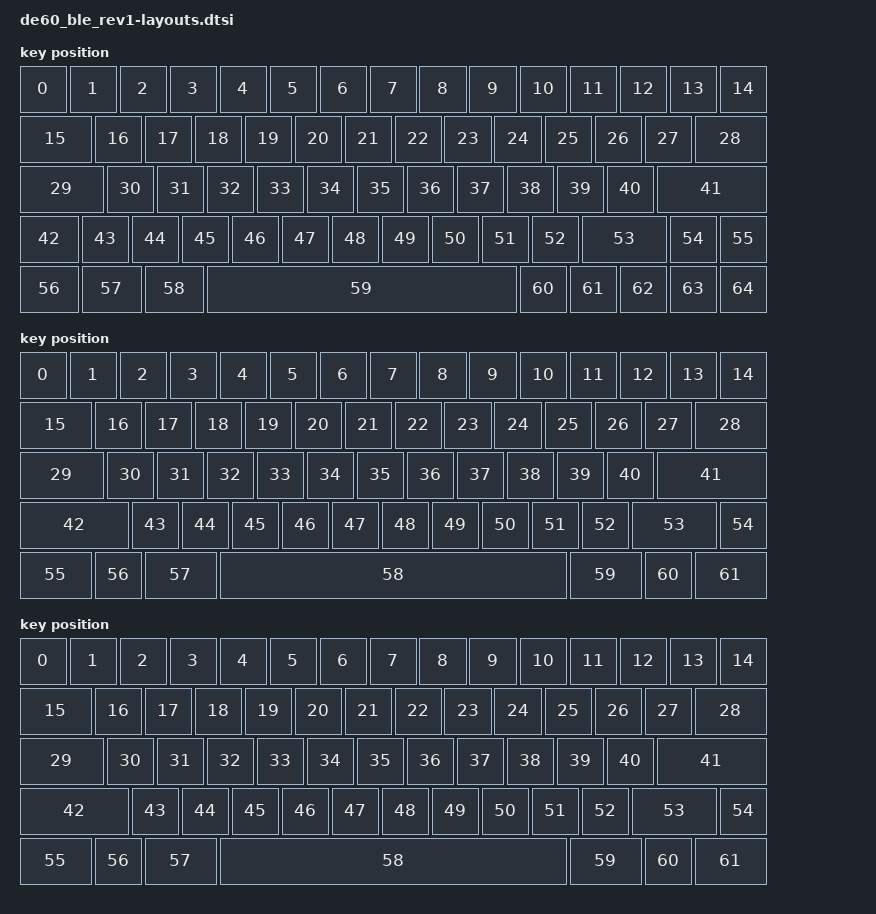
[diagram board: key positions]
#include <physical_layouts.dtsi>

/ {

    chosen {
        zmk,physical-layout = &white_all;
    };

    white_all: white_all {
        compatible = "zmk,physical-layout";
        display-name = "WHITE All";

        kscan = <&kscan0>;
        transform = <&white_all_transform>;

        keys  //                     w   h    x    y     rot    rx    ry
            = <&key_physical_attrs 100 100    0    0       0     0     0>
            , <&key_physical_attrs 100 100  100    0       0     0     0>
            , <&key_physical_attrs 100 100  200    0       0     0     0>
            , <&key_physical_attrs 100 100  300    0       0     0     0>
            , <&key_physical_attrs 100 100  400    0       0     0     0>
            , <&key_physical_attrs 100 100  500    0       0     0     0>
            , <&key_physical_attrs 100 100  600    0       0     0     0>
            , <&key_physical_attrs 100 100  700    0       0     0     0>
            , <&key_physical_attrs 100 100  800    0       0     0     0>
            , <&key_physical_attrs 100 100  900    0       0     0     0>
            , <&key_physical_attrs 100 100 1000    0       0     0     0>
            , <&key_physical_attrs 100 100 1100    0       0     0     0>
            , <&key_physical_attrs 100 100 1200    0       0     0     0>
            , <&key_physical_attrs 100 100 1300    0       0     0     0>
            , <&key_physical_attrs 100 100 1400    0       0     0     0>
            , <&key_physical_attrs 150 100    0  100       0     0     0>
            , <&key_physical_attrs 100 100  150  100       0     0     0>
            , <&key_physical_attrs 100 100  250  100       0     0     0>
            , <&key_physical_attrs 100 100  350  100       0     0     0>
            , <&key_physical_attrs 100 100  450  100       0     0     0>
            , <&key_physical_attrs 100 100  550  100       0     0     0>
            , <&key_physical_attrs 100 100  650  100       0     0     0>
            , <&key_physical_attrs 100 100  750  100       0     0     0>
            , <&key_physical_attrs 100 100  850  100       0     0     0>
            , <&key_physical_attrs 100 100  950  100       0     0     0>
            , <&key_physical_attrs 100 100 1050  100       0     0     0>
            , <&key_physical_attrs 100 100 1150  100       0     0     0>
            , <&key_physical_attrs 100 100 1250  100       0     0     0>
            , <&key_physical_attrs 150 100 1350  100       0     0     0>
            , <&key_physical_attrs 175 100    0  200       0     0     0>
            , <&key_physical_attrs 100 100  175  200       0     0     0>
            , <&key_physical_attrs 100 100  275  200       0     0     0>
            , <&key_physical_attrs 100 100  375  200       0     0     0>
            , <&key_physical_attrs 100 100  475  200       0     0     0>
            , <&key_physical_attrs 100 100  575  200       0     0     0>
            , <&key_physical_attrs 100 100  675  200       0     0     0>
            , <&key_physical_attrs 100 100  775  200       0     0     0>
            , <&key_physical_attrs 100 100  875  200       0     0     0>
            , <&key_physical_attrs 100 100  975  200       0     0     0>
            , <&key_physical_attrs 100 100 1075  200       0     0     0>
            , <&key_physical_attrs 100 100 1175  200       0     0     0>
            , <&key_physical_attrs 225 100 1275  200       0     0     0>
            , <&key_physical_attrs 125 100    0  300       0     0     0>
            , <&key_physical_attrs 100 100  125  300       0     0     0>
            , <&key_physical_attrs 100 100  225  300       0     0     0>
            , <&key_physical_attrs 100 100  325  300       0     0     0>
            , <&key_physical_attrs 100 100  425  300       0     0     0>
            , <&key_physical_attrs 100 100  525  300       0     0     0>
            , <&key_physical_attrs 100 100  625  300       0     0     0>
            , <&key_physical_attrs 100 100  725  300       0     0     0>
            , <&key_physical_attrs 100 100  825  300       0     0     0>
            , <&key_physical_attrs 100 100  925  300       0     0     0>
            , <&key_physical_attrs 100 100 1025  300       0     0     0>
            , <&key_physical_attrs 175 100 1125  300       0     0     0>
            , <&key_physical_attrs 100 100 1300  300       0     0     0>
            , <&key_physical_attrs 100 100 1400  300       0     0     0>
            , <&key_physical_attrs 125 100    0  400       0     0     0>
            , <&key_physical_attrs 125 100  125  400       0     0     0>
            , <&key_physical_attrs 125 100  250  400       0     0     0>
            , <&key_physical_attrs 625 100  375  400       0     0     0>
            , <&key_physical_attrs 100 100 1000  400       0     0     0>
            , <&key_physical_attrs 100 100 1100  400       0     0     0>
            , <&key_physical_attrs 100 100 1200  400       0     0     0>
            , <&key_physical_attrs 100 100 1300  400       0     0     0>
            , <&key_physical_attrs 100 100 1400  400       0     0     0>
            ;
    };

    red_tsangan_split_bs_rshift: red_tsangan_split_bs_rshift {
        compatible = "zmk,physical-layout";
        display-name = "RED - ANSI - Space 7U - Split Backspace - Split Right Shift";
        transform = <&red_ansi_tsangan_split_bs_rshift_transform>;

        keys  //                     w   h    x    y     rot    rx    ry
            = <&key_physical_attrs 100 100    0    0       0     0     0>
            , <&key_physical_attrs 100 100  100    0       0     0     0>
            , <&key_physical_attrs 100 100  200    0       0     0     0>
            , <&key_physical_attrs 100 100  300    0       0     0     0>
            , <&key_physical_attrs 100 100  400    0       0     0     0>
            , <&key_physical_attrs 100 100  500    0       0     0     0>
            , <&key_physical_attrs 100 100  600    0       0     0     0>
            , <&key_physical_attrs 100 100  700    0       0     0     0>
            , <&key_physical_attrs 100 100  800    0       0     0     0>
            , <&key_physical_attrs 100 100  900    0       0     0     0>
            , <&key_physical_attrs 100 100 1000    0       0     0     0>
            , <&key_physical_attrs 100 100 1100    0       0     0     0>
            , <&key_physical_attrs 100 100 1200    0       0     0     0>
            , <&key_physical_attrs 100 100 1300    0       0     0     0>
            , <&key_physical_attrs 100 100 1400    0       0     0     0>
            , <&key_physical_attrs 150 100    0  100       0     0     0>
            , <&key_physical_attrs 100 100  150  100       0     0     0>
            , <&key_physical_attrs 100 100  250  100       0     0     0>
            , <&key_physical_attrs 100 100  350  100       0     0     0>
            , <&key_physical_attrs 100 100  450  100       0     0     0>
            , <&key_physical_attrs 100 100  550  100       0     0     0>
            , <&key_physical_attrs 100 100  650  100       0     0     0>
            , <&key_physical_attrs 100 100  750  100       0     0     0>
            , <&key_physical_attrs 100 100  850  100       0     0     0>
            , <&key_physical_attrs 100 100  950  100       0     0     0>
            , <&key_physical_attrs 100 100 1050  100       0     0     0>
            , <&key_physical_attrs 100 100 1150  100       0     0     0>
            , <&key_physical_attrs 100 100 1250  100       0     0     0>
            , <&key_physical_attrs 150 100 1350  100       0     0     0>
            , <&key_physical_attrs 175 100    0  200       0     0     0>
            , <&key_physical_attrs 100 100  175  200       0     0     0>
            , <&key_physical_attrs 100 100  275  200       0     0     0>
            , <&key_physical_attrs 100 100  375  200       0     0     0>
            , <&key_physical_attrs 100 100  475  200       0     0     0>
            , <&key_physical_attrs 100 100  575  200       0     0     0>
            , <&key_physical_attrs 100 100  675  200       0     0     0>
            , <&key_physical_attrs 100 100  775  200       0     0     0>
            , <&key_physical_attrs 100 100  875  200       0     0     0>
            , <&key_physical_attrs 100 100  975  200       0     0     0>
            , <&key_physical_attrs 100 100 1075  200       0     0     0>
            , <&key_physical_attrs 100 100 1175  200       0     0     0>
            , <&key_physical_attrs 225 100 1275  200       0     0     0>
            , <&key_physical_attrs 225 100    0  300       0     0     0>
            , <&key_physical_attrs 100 100  225  300       0     0     0>
            , <&key_physical_attrs 100 100  325  300       0     0     0>
            , <&key_physical_attrs 100 100  425  300       0     0     0>
            , <&key_physical_attrs 100 100  525  300       0     0     0>
            , <&key_physical_attrs 100 100  625  300       0     0     0>
            , <&key_physical_attrs 100 100  725  300       0     0     0>
            , <&key_physical_attrs 100 100  825  300       0     0     0>
            , <&key_physical_attrs 100 100  925  300       0     0     0>
            , <&key_physical_attrs 100 100 1025  300       0     0     0>
            , <&key_physical_attrs 100 100 1125  300       0     0     0>
            , <&key_physical_attrs 175 100 1225  300       0     0     0>
            , <&key_physical_attrs 100 100 1400  300       0     0     0>
            , <&key_physical_attrs 150 100    0  400       0     0     0>
            , <&key_physical_attrs 100 100  150  400       0     0     0>
            , <&key_physical_attrs 150 100  250  400       0     0     0>
            , <&key_physical_attrs 700 100  400  400       0     0     0>
            , <&key_physical_attrs 150 100 1100  400       0     0     0>
            , <&key_physical_attrs 100 100 1250  400       0     0     0>
            , <&key_physical_attrs 150 100 1350  400       0     0     0>
            ;
    };

    white_tsangan_split_bs_rshift: white_tsangan_split_bs_rshift {
        compatible = "zmk,physical-layout";
        display-name = "WHITE - ANSI - Space 7U - Split Backspace - Split Right Shift";
        transform = <&white_ansi_tsangan_split_bs_rshift_transform>;

        keys  //                     w   h    x    y     rot    rx    ry
            = <&key_physical_attrs 100 100    0    0       0     0     0>
            , <&key_physical_attrs 100 100  100    0       0     0     0>
            , <&key_physical_attrs 100 100  200    0       0     0     0>
            , <&key_physical_attrs 100 100  300    0       0     0     0>
            , <&key_physical_attrs 100 100  400    0       0     0     0>
            , <&key_physical_attrs 100 100  500    0       0     0     0>
            , <&key_physical_attrs 100 100  600    0       0     0     0>
            , <&key_physical_attrs 100 100  700    0       0     0     0>
            , <&key_physical_attrs 100 100  800    0       0     0     0>
            , <&key_physical_attrs 100 100  900    0       0     0     0>
            , <&key_physical_attrs 100 100 1000    0       0     0     0>
            , <&key_physical_attrs 100 100 1100    0       0     0     0>
            , <&key_physical_attrs 100 100 1200    0       0     0     0>
            , <&key_physical_attrs 100 100 1300    0       0     0     0>
            , <&key_physical_attrs 100 100 1400    0       0     0     0>
            , <&key_physical_attrs 150 100    0  100       0     0     0>
            , <&key_physical_attrs 100 100  150  100       0     0     0>
            , <&key_physical_attrs 100 100  250  100       0     0     0>
            , <&key_physical_attrs 100 100  350  100       0     0     0>
            , <&key_physical_attrs 100 100  450  100       0     0     0>
            , <&key_physical_attrs 100 100  550  100       0     0     0>
            , <&key_physical_attrs 100 100  650  100       0     0     0>
            , <&key_physical_attrs 100 100  750  100       0     0     0>
            , <&key_physical_attrs 100 100  850  100       0     0     0>
            , <&key_physical_attrs 100 100  950  100       0     0     0>
            , <&key_physical_attrs 100 100 1050  100       0     0     0>
            , <&key_physical_attrs 100 100 1150  100       0     0     0>
            , <&key_physical_attrs 100 100 1250  100       0     0     0>
            , <&key_physical_attrs 150 100 1350  100       0     0     0>
            , <&key_physical_attrs 175 100    0  200       0     0     0>
            , <&key_physical_attrs 100 100  175  200       0     0     0>
            , <&key_physical_attrs 100 100  275  200       0     0     0>
            , <&key_physical_attrs 100 100  375  200       0     0     0>
            , <&key_physical_attrs 100 100  475  200       0     0     0>
            , <&key_physical_attrs 100 100  575  200       0     0     0>
            , <&key_physical_attrs 100 100  675  200       0     0     0>
            , <&key_physical_attrs 100 100  775  200       0     0     0>
            , <&key_physical_attrs 100 100  875  200       0     0     0>
            , <&key_physical_attrs 100 100  975  200       0     0     0>
            , <&key_physical_attrs 100 100 1075  200       0     0     0>
            , <&key_physical_attrs 100 100 1175  200       0     0     0>
            , <&key_physical_attrs 225 100 1275  200       0     0     0>
            , <&key_physical_attrs 225 100    0  300       0     0     0>
            , <&key_physical_attrs 100 100  225  300       0     0     0>
            , <&key_physical_attrs 100 100  325  300       0     0     0>
            , <&key_physical_attrs 100 100  425  300       0     0     0>
            , <&key_physical_attrs 100 100  525  300       0     0     0>
            , <&key_physical_attrs 100 100  625  300       0     0     0>
            , <&key_physical_attrs 100 100  725  300       0     0     0>
            , <&key_physical_attrs 100 100  825  300       0     0     0>
            , <&key_physical_attrs 100 100  925  300       0     0     0>
            , <&key_physical_attrs 100 100 1025  300       0     0     0>
            , <&key_physical_attrs 100 100 1125  300       0     0     0>
            , <&key_physical_attrs 175 100 1225  300       0     0     0>
            , <&key_physical_attrs 100 100 1400  300       0     0     0>
            , <&key_physical_attrs 150 100    0  400       0     0     0>
            , <&key_physical_attrs 100 100  150  400       0     0     0>
            , <&key_physical_attrs 150 100  250  400       0     0     0>
            , <&key_physical_attrs 700 100  400  400       0     0     0>
            , <&key_physical_attrs 150 100 1100  400       0     0     0>
            , <&key_physical_attrs 100 100 1250  400       0     0     0>
            , <&key_physical_attrs 150 100 1350  400       0     0     0>
            ;
    };

    white_tsangan_arrow: white_tsangan_arrow {
        compatible = "zmk,physical-layout";
        display-name = "WHITE - ANSI - Space 7U - Arrow";

        kscan = <&kscan0>;
        transform = <&white_ansi_tsangan_arrow_transform>;

        keys  //                     w   h    x    y     rot    rx    ry
            = <&key_physical_attrs 100 100    0    0       0     0     0>
            , <&key_physical_attrs 100 100  100    0       0     0     0>
            , <&key_physical_attrs 100 100  200    0       0     0     0>
            , <&key_physical_attrs 100 100  300    0       0     0     0>
            , <&key_physical_attrs 100 100  400    0       0     0     0>
            , <&key_physical_attrs 100 100  500    0       0     0     0>
            , <&key_physical_attrs 100 100  600    0       0     0     0>
            , <&key_physical_attrs 100 100  700    0       0     0     0>
            , <&key_physical_attrs 100 100  800    0       0     0     0>
            , <&key_physical_attrs 100 100  900    0       0     0     0>
            , <&key_physical_attrs 100 100 1000    0       0     0     0>
            , <&key_physical_attrs 100 100 1100    0       0     0     0>
            , <&key_physical_attrs 100 100 1200    0       0     0     0>
            , <&key_physical_attrs 200 100 1300    0       0     0     0>
            , <&key_physical_attrs 150 100    0  100       0     0     0>
            , <&key_physical_attrs 100 100  150  100       0     0     0>
            , <&key_physical_attrs 100 100  250  100       0     0     0>
            , <&key_physical_attrs 100 100  350  100       0     0     0>
            , <&key_physical_attrs 100 100  450  100       0     0     0>
            , <&key_physical_attrs 100 100  550  100       0     0     0>
            , <&key_physical_attrs 100 100  650  100       0     0     0>
            , <&key_physical_attrs 100 100  750  100       0     0     0>
            , <&key_physical_attrs 100 100  850  100       0     0     0>
            , <&key_physical_attrs 100 100  950  100       0     0     0>
            , <&key_physical_attrs 100 100 1050  100       0     0     0>
            , <&key_physical_attrs 100 100 1150  100       0     0     0>
            , <&key_physical_attrs 100 100 1250  100       0     0     0>
            , <&key_physical_attrs 150 100 1350  100       0     0     0>
            , <&key_physical_attrs 175 100    0  200       0     0     0>
            , <&key_physical_attrs 100 100  175  200       0     0     0>
            , <&key_physical_attrs 100 100  275  200       0     0     0>
            , <&key_physical_attrs 100 100  375  200       0     0     0>
            , <&key_physical_attrs 100 100  475  200       0     0     0>
            , <&key_physical_attrs 100 100  575  200       0     0     0>
            , <&key_physical_attrs 100 100  675  200       0     0     0>
            , <&key_physical_attrs 100 100  775  200       0     0     0>
            , <&key_physical_attrs 100 100  875  200       0     0     0>
            , <&key_physical_attrs 100 100  975  200       0     0     0>
            , <&key_physical_attrs 100 100 1075  200       0     0     0>
            , <&key_physical_attrs 100 100 1175  200       0     0     0>
            , <&key_physical_attrs 225 100 1275  200       0     0     0>
            , <&key_physical_attrs 225 100    0  300       0     0     0>
            , <&key_physical_attrs 100 100  225  300       0     0     0>
            , <&key_physical_attrs 100 100  325  300       0     0     0>
            , <&key_physical_attrs 100 100  425  300       0     0     0>
            , <&key_physical_attrs 100 100  525  300       0     0     0>
            , <&key_physical_attrs 100 100  625  300       0     0     0>
            , <&key_physical_attrs 100 100  725  300       0     0     0>
            , <&key_physical_attrs 100 100  825  300       0     0     0>
            , <&key_physical_attrs 100 100  925  300       0     0     0>
            , <&key_physical_attrs 100 100 1025  300       0     0     0>
            , <&key_physical_attrs 175 100 1125  300       0     0     0>
            , <&key_physical_attrs 100 100 1300  300       0     0     0>
            , <&key_physical_attrs 100 100 1400  300       0     0     0>
            , <&key_physical_attrs 150 100    0  400       0     0     0>
            , <&key_physical_attrs 100 100  150  400       0     0     0>
            , <&key_physical_attrs 150 100  250  400       0     0     0>
            , <&key_physical_attrs 700 100  400  400       0     0     0>
            , <&key_physical_attrs 100 100 1100  400       0     0     0>
            , <&key_physical_attrs 100 100 1200  400       0     0     0>
            , <&key_physical_attrs 100 100 1300  400       0     0     0>
            , <&key_physical_attrs 100 100 1400  400       0     0     0>
            ;
    };

    white_tsangan_arrow_split_bs: white_tsangan_arrow_split_bs {
        compatible = "zmk,physical-layout";
        display-name = "WHITE - ANSI - Space 7U - Arrow - Split Backspace";

        kscan = <&kscan0>;
        transform = <&white_ansi_tsangan_arrow_split_bs_transform>;

        keys  //                     w   h    x    y     rot    rx    ry
            = <&key_physical_attrs 100 100    0    0       0     0     0>
            , <&key_physical_attrs 100 100  100    0       0     0     0>
            , <&key_physical_attrs 100 100  200    0       0     0     0>
            , <&key_physical_attrs 100 100  300    0       0     0     0>
            , <&key_physical_attrs 100 100  400    0       0     0     0>
            , <&key_physical_attrs 100 100  500    0       0     0     0>
            , <&key_physical_attrs 100 100  600    0       0     0     0>
            , <&key_physical_attrs 100 100  700    0       0     0     0>
            , <&key_physical_attrs 100 100  800    0       0     0     0>
            , <&key_physical_attrs 100 100  900    0       0     0     0>
            , <&key_physical_attrs 100 100 1000    0       0     0     0>
            , <&key_physical_attrs 100 100 1100    0       0     0     0>
            , <&key_physical_attrs 100 100 1200    0       0     0     0>
            , <&key_physical_attrs 100 100 1300    0       0     0     0>
            , <&key_physical_attrs 100 100 1400    0       0     0     0>
            , <&key_physical_attrs 150 100    0  100       0     0     0>
            , <&key_physical_attrs 100 100  150  100       0     0     0>
            , <&key_physical_attrs 100 100  250  100       0     0     0>
            , <&key_physical_attrs 100 100  350  100       0     0     0>
            , <&key_physical_attrs 100 100  450  100       0     0     0>
            , <&key_physical_attrs 100 100  550  100       0     0     0>
            , <&key_physical_attrs 100 100  650  100       0     0     0>
            , <&key_physical_attrs 100 100  750  100       0     0     0>
            , <&key_physical_attrs 100 100  850  100       0     0     0>
            , <&key_physical_attrs 100 100  950  100       0     0     0>
            , <&key_physical_attrs 100 100 1050  100       0     0     0>
            , <&key_physical_attrs 100 100 1150  100       0     0     0>
            , <&key_physical_attrs 100 100 1250  100       0     0     0>
            , <&key_physical_attrs 150 100 1350  100       0     0     0>
            , <&key_physical_attrs 175 100    0  200       0     0     0>
            , <&key_physical_attrs 100 100  175  200       0     0     0>
            , <&key_physical_attrs 100 100  275  200       0     0     0>
            , <&key_physical_attrs 100 100  375  200       0     0     0>
            , <&key_physical_attrs 100 100  475  200       0     0     0>
            , <&key_physical_attrs 100 100  575  200       0     0     0>
            , <&key_physical_attrs 100 100  675  200       0     0     0>
            , <&key_physical_attrs 100 100  775  200       0     0     0>
            , <&key_physical_attrs 100 100  875  200       0     0     0>
            , <&key_physical_attrs 100 100  975  200       0     0     0>
            , <&key_physical_attrs 100 100 1075  200       0     0     0>
            , <&key_physical_attrs 100 100 1175  200       0     0     0>
            , <&key_physical_attrs 225 100 1275  200       0     0     0>
            , <&key_physical_attrs 225 100    0  300       0     0     0>
            , <&key_physical_attrs 100 100  225  300       0     0     0>
            , <&key_physical_attrs 100 100  325  300       0     0     0>
            , <&key_physical_attrs 100 100  425  300       0     0     0>
            , <&key_physical_attrs 100 100  525  300       0     0     0>
            , <&key_physical_attrs 100 100  625  300       0     0     0>
            , <&key_physical_attrs 100 100  725  300       0     0     0>
            , <&key_physical_attrs 100 100  825  300       0     0     0>
            , <&key_physical_attrs 100 100  925  300       0     0     0>
            , <&key_physical_attrs 100 100 1025  300       0     0     0>
            , <&key_physical_attrs 175 100 1125  300       0     0     0>
            , <&key_physical_attrs 100 100 1300  300       0     0     0>
            , <&key_physical_attrs 100 100 1400  300       0     0     0>
            , <&key_physical_attrs 150 100    0  400       0     0     0>
            , <&key_physical_attrs 100 100  150  400       0     0     0>
            , <&key_physical_attrs 150 100  250  400       0     0     0>
            , <&key_physical_attrs 700 100  400  400       0     0     0>
            , <&key_physical_attrs 100 100 1100  400       0     0     0>
            , <&key_physical_attrs 100 100 1200  400       0     0     0>
            , <&key_physical_attrs 100 100 1300  400       0     0     0>
            , <&key_physical_attrs 100 100 1400  400       0     0     0>
            ;
    };

    white_ansi: white_ansi {
        compatible = "zmk,physical-layout";
        display-name = "WHITE - ANSI - Space 6.25U";

        kscan = <&kscan0>;
        transform = <&white_ansi_transform>;

        keys  //                     w   h    x    y     rot    rx    ry
            = <&key_physical_attrs 100 100    0    0       0     0     0>
            , <&key_physical_attrs 100 100  100    0       0     0     0>
            , <&key_physical_attrs 100 100  200    0       0     0     0>
            , <&key_physical_attrs 100 100  300    0       0     0     0>
            , <&key_physical_attrs 100 100  400    0       0     0     0>
            , <&key_physical_attrs 100 100  500    0       0     0     0>
            , <&key_physical_attrs 100 100  600    0       0     0     0>
            , <&key_physical_attrs 100 100  700    0       0     0     0>
            , <&key_physical_attrs 100 100  800    0       0     0     0>
            , <&key_physical_attrs 100 100  900    0       0     0     0>
            , <&key_physical_attrs 100 100 1000    0       0     0     0>
            , <&key_physical_attrs 100 100 1100    0       0     0     0>
            , <&key_physical_attrs 100 100 1200    0       0     0     0>
            , <&key_physical_attrs 200 100 1300    0       0     0     0>
            , <&key_physical_attrs 150 100    0  100       0     0     0>
            , <&key_physical_attrs 100 100  150  100       0     0     0>
            , <&key_physical_attrs 100 100  250  100       0     0     0>
            , <&key_physical_attrs 100 100  350  100       0     0     0>
            , <&key_physical_attrs 100 100  450  100       0     0     0>
            , <&key_physical_attrs 100 100  550  100       0     0     0>
            , <&key_physical_attrs 100 100  650  100       0     0     0>
            , <&key_physical_attrs 100 100  750  100       0     0     0>
            , <&key_physical_attrs 100 100  850  100       0     0     0>
            , <&key_physical_attrs 100 100  950  100       0     0     0>
            , <&key_physical_attrs 100 100 1050  100       0     0     0>
            , <&key_physical_attrs 100 100 1150  100       0     0     0>
            , <&key_physical_attrs 100 100 1250  100       0     0     0>
            , <&key_physical_attrs 150 100 1350  100       0     0     0>
            , <&key_physical_attrs 175 100    0  200       0     0     0>
            , <&key_physical_attrs 100 100  175  200       0     0     0>
            , <&key_physical_attrs 100 100  275  200       0     0     0>
            , <&key_physical_attrs 100 100  375  200       0     0     0>
            , <&key_physical_attrs 100 100  475  200       0     0     0>
            , <&key_physical_attrs 100 100  575  200       0     0     0>
            , <&key_physical_attrs 100 100  675  200       0     0     0>
            , <&key_physical_attrs 100 100  775  200       0     0     0>
            , <&key_physical_attrs 100 100  875  200       0     0     0>
            , <&key_physical_attrs 100 100  975  200       0     0     0>
            , <&key_physical_attrs 100 100 1075  200       0     0     0>
            , <&key_physical_attrs 100 100 1175  200       0     0     0>
            , <&key_physical_attrs 225 100 1275  200       0     0     0>
            , <&key_physical_attrs 225 100    0  300       0     0     0>
            , <&key_physical_attrs 100 100  225  300       0     0     0>
            , <&key_physical_attrs 100 100  325  300       0     0     0>
            , <&key_physical_attrs 100 100  425  300       0     0     0>
            , <&key_physical_attrs 100 100  525  300       0     0     0>
            , <&key_physical_attrs 100 100  625  300       0     0     0>
            , <&key_physical_attrs 100 100  725  300       0     0     0>
            , <&key_physical_attrs 100 100  825  300       0     0     0>
            , <&key_physical_attrs 100 100  925  300       0     0     0>
            , <&key_physical_attrs 100 100 1025  300       0     0     0>
            , <&key_physical_attrs 100 100 1125  300       0     0     0>
            , <&key_physical_attrs 275 100 1225  300       0     0     0>
            , <&key_physical_attrs 125 100    0  400       0     0     0>
            , <&key_physical_attrs 125 100  125  400       0     0     0>
            , <&key_physical_attrs 125 100  250  400       0     0     0>
            , <&key_physical_attrs 625 100  375  400       0     0     0>
            , <&key_physical_attrs 125 100 1000  400       0     0     0>
            , <&key_physical_attrs 125 100 1125  400       0     0     0>
            , <&key_physical_attrs 125 100 1250  400       0     0     0>
            , <&key_physical_attrs 125 100 1375  400       0     0     0>
            ;
    };

    white_ansi_split_rshift: white_ansi_split_rshift {
        compatible = "zmk,physical-layout";
        display-name = "WHITE - ANSI - Space 6.25U - Split Right Shift";

        kscan = <&kscan0>;
        transform = <&white_ansi_split_rshift_transform>;

        keys  //                     w   h    x    y     rot    rx    ry
            = <&key_physical_attrs 100 100    0    0       0     0     0>
            , <&key_physical_attrs 100 100  100    0       0     0     0>
            , <&key_physical_attrs 100 100  200    0       0     0     0>
            , <&key_physical_attrs 100 100  300    0       0     0     0>
            , <&key_physical_attrs 100 100  400    0       0     0     0>
            , <&key_physical_attrs 100 100  500    0       0     0     0>
            , <&key_physical_attrs 100 100  600    0       0     0     0>
            , <&key_physical_attrs 100 100  700    0       0     0     0>
            , <&key_physical_attrs 100 100  800    0       0     0     0>
            , <&key_physical_attrs 100 100  900    0       0     0     0>
            , <&key_physical_attrs 100 100 1000    0       0     0     0>
            , <&key_physical_attrs 100 100 1100    0       0     0     0>
            , <&key_physical_attrs 100 100 1200    0       0     0     0>
            , <&key_physical_attrs 200 100 1300    0       0     0     0>
            , <&key_physical_attrs 150 100    0  100       0     0     0>
            , <&key_physical_attrs 100 100  150  100       0     0     0>
            , <&key_physical_attrs 100 100  250  100       0     0     0>
            , <&key_physical_attrs 100 100  350  100       0     0     0>
            , <&key_physical_attrs 100 100  450  100       0     0     0>
            , <&key_physical_attrs 100 100  550  100       0     0     0>
            , <&key_physical_attrs 100 100  650  100       0     0     0>
            , <&key_physical_attrs 100 100  750  100       0     0     0>
            , <&key_physical_attrs 100 100  850  100       0     0     0>
            , <&key_physical_attrs 100 100  950  100       0     0     0>
            , <&key_physical_attrs 100 100 1050  100       0     0     0>
            , <&key_physical_attrs 100 100 1150  100       0     0     0>
            , <&key_physical_attrs 100 100 1250  100       0     0     0>
            , <&key_physical_attrs 150 100 1350  100       0     0     0>
            , <&key_physical_attrs 175 100    0  200       0     0     0>
            , <&key_physical_attrs 100 100  175  200       0     0     0>
            , <&key_physical_attrs 100 100  275  200       0     0     0>
            , <&key_physical_attrs 100 100  375  200       0     0     0>
            , <&key_physical_attrs 100 100  475  200       0     0     0>
            , <&key_physical_attrs 100 100  575  200       0     0     0>
            , <&key_physical_attrs 100 100  675  200       0     0     0>
            , <&key_physical_attrs 100 100  775  200       0     0     0>
            , <&key_physical_attrs 100 100  875  200       0     0     0>
            , <&key_physical_attrs 100 100  975  200       0     0     0>
            , <&key_physical_attrs 100 100 1075  200       0     0     0>
            , <&key_physical_attrs 100 100 1175  200       0     0     0>
            , <&key_physical_attrs 225 100 1275  200       0     0     0>
            , <&key_physical_attrs 225 100    0  300       0     0     0>
            , <&key_physical_attrs 100 100  225  300       0     0     0>
            , <&key_physical_attrs 100 100  325  300       0     0     0>
            , <&key_physical_attrs 100 100  425  300       0     0     0>
            , <&key_physical_attrs 100 100  525  300       0     0     0>
            , <&key_physical_attrs 100 100  625  300       0     0     0>
            , <&key_physical_attrs 100 100  725  300       0     0     0>
            , <&key_physical_attrs 100 100  825  300       0     0     0>
            , <&key_physical_attrs 100 100  925  300       0     0     0>
            , <&key_physical_attrs 100 100 1025  300       0     0     0>
            , <&key_physical_attrs 100 100 1125  300       0     0     0>
            , <&key_physical_attrs 175 100 1225  300       0     0     0>
            , <&key_physical_attrs 100 100 1400  300       0     0     0>
            , <&key_physical_attrs 125 100    0  400       0     0     0>
            , <&key_physical_attrs 125 100  125  400       0     0     0>
            , <&key_physical_attrs 125 100  250  400       0     0     0>
            , <&key_physical_attrs 625 100  375  400       0     0     0>
            , <&key_physical_attrs 125 100 1000  400       0     0     0>
            , <&key_physical_attrs 125 100 1125  400       0     0     0>
            , <&key_physical_attrs 125 100 1250  400       0     0     0>
            , <&key_physical_attrs 125 100 1375  400       0     0     0>
            ;
    };

    both_ansi_10u_split_rshift: both_ansi_10u_split_rshift {
        compatible = "zmk,physical-layout";
        display-name = "BOTH - ANSI - Space 10U - Split Right Shift";

        kscan = <&kscan0>;
        transform = <&both_ansi_10u_split_rshift_transform>;

        keys  //                     w   h    x    y     rot    rx    ry
            = <&key_physical_attrs 100 100    0    0       0     0     0>
            , <&key_physical_attrs 100 100  100    0       0     0     0>
            , <&key_physical_attrs 100 100  200    0       0     0     0>
            , <&key_physical_attrs 100 100  300    0       0     0     0>
            , <&key_physical_attrs 100 100  400    0       0     0     0>
            , <&key_physical_attrs 100 100  500    0       0     0     0>
            , <&key_physical_attrs 100 100  600    0       0     0     0>
            , <&key_physical_attrs 100 100  700    0       0     0     0>
            , <&key_physical_attrs 100 100  800    0       0     0     0>
            , <&key_physical_attrs 100 100  900    0       0     0     0>
            , <&key_physical_attrs 100 100 1000    0       0     0     0>
            , <&key_physical_attrs 100 100 1100    0       0     0     0>
            , <&key_physical_attrs 100 100 1200    0       0     0     0>
            , <&key_physical_attrs 200 100 1300    0       0     0     0>
            , <&key_physical_attrs 150 100    0  100       0     0     0>
            , <&key_physical_attrs 100 100  150  100       0     0     0>
            , <&key_physical_attrs 100 100  250  100       0     0     0>
            , <&key_physical_attrs 100 100  350  100       0     0     0>
            , <&key_physical_attrs 100 100  450  100       0     0     0>
            , <&key_physical_attrs 100 100  550  100       0     0     0>
            , <&key_physical_attrs 100 100  650  100       0     0     0>
            , <&key_physical_attrs 100 100  750  100       0     0     0>
            , <&key_physical_attrs 100 100  850  100       0     0     0>
            , <&key_physical_attrs 100 100  950  100       0     0     0>
            , <&key_physical_attrs 100 100 1050  100       0     0     0>
            , <&key_physical_attrs 100 100 1150  100       0     0     0>
            , <&key_physical_attrs 100 100 1250  100       0     0     0>
            , <&key_physical_attrs 150 100 1350  100       0     0     0>
            , <&key_physical_attrs 175 100    0  200       0     0     0>
            , <&key_physical_attrs 100 100  175  200       0     0     0>
            , <&key_physical_attrs 100 100  275  200       0     0     0>
            , <&key_physical_attrs 100 100  375  200       0     0     0>
            , <&key_physical_attrs 100 100  475  200       0     0     0>
            , <&key_physical_attrs 100 100  575  200       0     0     0>
            , <&key_physical_attrs 100 100  675  200       0     0     0>
            , <&key_physical_attrs 100 100  775  200       0     0     0>
            , <&key_physical_attrs 100 100  875  200       0     0     0>
            , <&key_physical_attrs 100 100  975  200       0     0     0>
            , <&key_physical_attrs 100 100 1075  200       0     0     0>
            , <&key_physical_attrs 100 100 1175  200       0     0     0>
            , <&key_physical_attrs 225 100 1275  200       0     0     0>
            , <&key_physical_attrs 225 100    0  300       0     0     0>
            , <&key_physical_attrs 100 100  225  300       0     0     0>
            , <&key_physical_attrs 100 100  325  300       0     0     0>
            , <&key_physical_attrs 100 100  425  300       0     0     0>
            , <&key_physical_attrs 100 100  525  300       0     0     0>
            , <&key_physical_attrs 100 100  625  300       0     0     0>
            , <&key_physical_attrs 100 100  725  300       0     0     0>
            , <&key_physical_attrs 100 100  825  300       0     0     0>
            , <&key_physical_attrs 100 100  925  300       0     0     0>
            , <&key_physical_attrs 100 100 1025  300       0     0     0>
            , <&key_physical_attrs 100 100 1125  300       0     0     0>
            , <&key_physical_attrs 175 100 1225  300       0     0     0>
            , <&key_physical_attrs 100 100 1400  300       0     0     0>
            , <&key_physical_attrs 150 100    0  400       0     0     0>
            , <&key_physical_attrs 100 100  150  400       0     0     0>
            , <&key_physical_attrs 1000 100  250  400       0     0     0>
            , <&key_physical_attrs 100 100 1250  400       0     0     0>
            , <&key_physical_attrs 150 100 1350  400       0     0     0>
            ;
    };

    both_ansi_10u_split_bs_rshift: both_ansi_10u_split_bs_rshift {
        compatible = "zmk,physical-layout";
        display-name = "BOTH - ANSI - Space 10U - Split Backspace - Split Right Shift";

        kscan = <&kscan0>;
        transform = <&both_ansi_10u_split_bs_rshift_transform>;

        keys  //                     w   h    x    y     rot    rx    ry
            = <&key_physical_attrs 100 100    0    0       0     0     0>
            , <&key_physical_attrs 100 100  100    0       0     0     0>
            , <&key_physical_attrs 100 100  200    0       0     0     0>
            , <&key_physical_attrs 100 100  300    0       0     0     0>
            , <&key_physical_attrs 100 100  400    0       0     0     0>
            , <&key_physical_attrs 100 100  500    0       0     0     0>
            , <&key_physical_attrs 100 100  600    0       0     0     0>
            , <&key_physical_attrs 100 100  700    0       0     0     0>
            , <&key_physical_attrs 100 100  800    0       0     0     0>
            , <&key_physical_attrs 100 100  900    0       0     0     0>
            , <&key_physical_attrs 100 100 1000    0       0     0     0>
            , <&key_physical_attrs 100 100 1100    0       0     0     0>
            , <&key_physical_attrs 100 100 1200    0       0     0     0>
            , <&key_physical_attrs 100 100 1300    0       0     0     0>
            , <&key_physical_attrs 100 100 1400    0       0     0     0>
            , <&key_physical_attrs 150 100    0  100       0     0     0>
            , <&key_physical_attrs 100 100  150  100       0     0     0>
            , <&key_physical_attrs 100 100  250  100       0     0     0>
            , <&key_physical_attrs 100 100  350  100       0     0     0>
            , <&key_physical_attrs 100 100  450  100       0     0     0>
            , <&key_physical_attrs 100 100  550  100       0     0     0>
            , <&key_physical_attrs 100 100  650  100       0     0     0>
            , <&key_physical_attrs 100 100  750  100       0     0     0>
            , <&key_physical_attrs 100 100  850  100       0     0     0>
            , <&key_physical_attrs 100 100  950  100       0     0     0>
            , <&key_physical_attrs 100 100 1050  100       0     0     0>
            , <&key_physical_attrs 100 100 1150  100       0     0     0>
            , <&key_physical_attrs 100 100 1250  100       0     0     0>
            , <&key_physical_attrs 150 100 1350  100       0     0     0>
            , <&key_physical_attrs 175 100    0  200       0     0     0>
            , <&key_physical_attrs 100 100  175  200       0     0     0>
            , <&key_physical_attrs 100 100  275  200       0     0     0>
            , <&key_physical_attrs 100 100  375  200       0     0     0>
            , <&key_physical_attrs 100 100  475  200       0     0     0>
            , <&key_physical_attrs 100 100  575  200       0     0     0>
            , <&key_physical_attrs 100 100  675  200       0     0     0>
            , <&key_physical_attrs 100 100  775  200       0     0     0>
            , <&key_physical_attrs 100 100  875  200       0     0     0>
            , <&key_physical_attrs 100 100  975  200       0     0     0>
            , <&key_physical_attrs 100 100 1075  200       0     0     0>
            , <&key_physical_attrs 100 100 1175  200       0     0     0>
            , <&key_physical_attrs 225 100 1275  200       0     0     0>
            , <&key_physical_attrs 225 100    0  300       0     0     0>
            , <&key_physical_attrs 100 100  225  300       0     0     0>
            , <&key_physical_attrs 100 100  325  300       0     0     0>
            , <&key_physical_attrs 100 100  425  300       0     0     0>
            , <&key_physical_attrs 100 100  525  300       0     0     0>
            , <&key_physical_attrs 100 100  625  300       0     0     0>
            , <&key_physical_attrs 100 100  725  300       0     0     0>
            , <&key_physical_attrs 100 100  825  300       0     0     0>
            , <&key_physical_attrs 100 100  925  300       0     0     0>
            , <&key_physical_attrs 100 100 1025  300       0     0     0>
            , <&key_physical_attrs 100 100 1125  300       0     0     0>
            , <&key_physical_attrs 175 100 1225  300       0     0     0>
            , <&key_physical_attrs 100 100 1400  300       0     0     0>
            , <&key_physical_attrs 150 100    0  400       0     0     0>
            , <&key_physical_attrs 100 100  150  400       0     0     0>
            , <&key_physical_attrs 1000 100  250  400       0     0     0>
            , <&key_physical_attrs 100 100 1250  400       0     0     0>
            , <&key_physical_attrs 150 100 1350  400       0     0     0>
            ;
    };

    position_map {
        compatible = "zmk,physical-layout-position-map";

        white_all {
            physical-layout = <&white_all>;
            positions = <13 42 53 54 56 57 59 62 63 64>;
        };

        red_tsangan_split_bs_rshift {
            physical-layout = <&red_tsangan_split_bs_rshift>;
            positions = <13 42 52 53 55 56 58 59 60 61>;
        };

        white_tsangan_split_bs_rshift {
            physical-layout = <&white_tsangan_split_bs_rshift>;
            positions = <13 42 52 53 55 56 58 59 60 61>;
        };

        white_tsangan_arrow {
            physical-layout = <&white_tsangan_arrow>;
            positions = <13 41 51 52 54 55 57 59 60 61>;
        };

        white_tsangan_arrow_split_bs {
            physical-layout = <&white_tsangan_arrow_split_bs>;
            positions = <13 42 52 53 55 56 58 60 61 62>;
        };

        white_ansi {
            physical-layout = <&white_ansi>;
            positions = <13 41 51 52 53 54 56 58 59 60>;
        };

        white_ansi_split_rshift {
            physical-layout = <&white_ansi_split_rshift>;
            positions = <13 41 51 52 54 55 57 59 60 61>;
        };

        both_ansi_10u_split_rshift {
            physical-layout = <&both_ansi_10u_split_rshift>;
            positions = <13 41 51 52 54 55 56 60 57 58>;
        };

        both_ansi_10u_split_bs_rshift {
            physical-layout = <&both_ansi_10u_split_bs_rshift>;
            positions = <13 42 52 53 55 56 57 60 58 59>;
        };
    };
};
